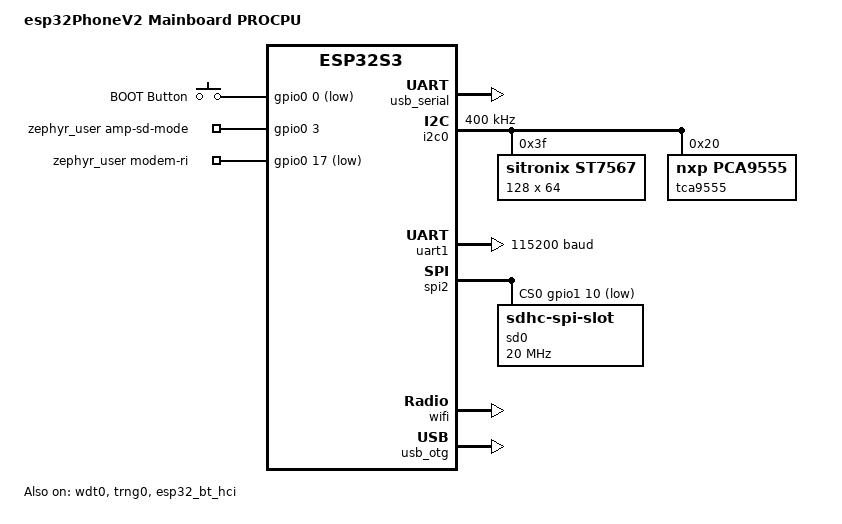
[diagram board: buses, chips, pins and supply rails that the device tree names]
/*
 * esp32PhoneV2 Mainboard (PCB4) — PROCPU
 *
 * GPIO map (from Mainboard_schematics.pdf):
 *   IO0  BOOT button          IO15 modem TX
 *   IO2  SD SCK               IO16 modem RX
 *   IO3  amp SD_MODE          IO17 modem RI
 *   IO4  I2S LRC/FSYNC        IO18 modem PWRKEY
 *   IO5  I2S BCLK             IO19/20 USB D-/D+
 *   IO6  DAC DIN              IO42 SD CS
 *   IO7  ADC SDOUT            IO43 SD MOSI
 *   IO8  modem RST            IO44 SD MISO
 *   IO9/10 I2C SDA/SCL
 *   Spare (EXT header): IO1, IO11-14, IO21, IO38-41, IO47, IO48
 */
/dts-v1/;

#include <espressif/esp32s3/esp32s3_wroom_n16r8.dtsi>
#include <zephyr/dt-bindings/input/input-event-codes.h>
#include <espressif/partitions_0x0_amp_16M.dtsi>
#include "esp32phone_v2-pinctrl.dtsi"

/ {
	model = "esp32PhoneV2 Mainboard PROCPU";
	compatible = "espressif,esp32s3";

	aliases {
		i2c-0 = &i2c0;
		watchdog0 = &wdt0;
		sw0 = &button0;
		sdhc0 = &sd0;
	};

	chosen {
		zephyr,sram = &sram1;
		zephyr,console = &usb_serial;
		zephyr,shell-uart = &usb_serial;
		zephyr,flash = &flash0;
		zephyr,code-partition = &slot0_partition;
		zephyr,bt-hci = &esp32_bt_hci;
		zephyr,display = &st7567;
	};

	buttons {
		compatible = "gpio-keys";

		button0: button_0 {
			gpios = <&gpio0 0 (GPIO_PULL_UP | GPIO_ACTIVE_LOW)>;
			label = "BOOT Button";
			zephyr,code = <INPUT_KEY_0>;
		};
	};

	/* Board control lines owned by firmware services */
	zephyr_user: zephyr,user {
		amp-sd-mode-gpios = <&gpio0 3 GPIO_ACTIVE_HIGH>;  /* MAX98357A enable */
		modem-ri-gpios = <&gpio0 17 GPIO_ACTIVE_LOW>;     /* A7680C ring indicator */
	};
};

&usb_serial {
	status = "okay";
};

&gpio0 {
	status = "okay";
};

&gpio1 {
	status = "okay";
};

&i2c0 {
	status = "okay";
	clock-frequency = <I2C_BITRATE_FAST>;
	pinctrl-0 = <&i2c0_default>;
	pinctrl-names = "default";

	/*
	 * Matches the known-good U8g2 init (ENH_DG128064I + U8G2_R2):
	 * SEG normal + COM flipped = that panel's 180° orientation,
	 * offset 0, RR=3, 1/9 bias. Contrast (EV 50) is set at runtime —
	 * ST7567_DEFAULT_CONTRAST is capped at 15.
	 */
	st7567: st7567@3f {
		compatible = "sitronix,st7567";
		reg = <0x3f>;
		width = <128>;
		height = <64>;
		column-offset = <0>;
		line-offset = <0>;
		regulation-ratio = <3>;
		com-invdir;
	};

	tca9555: tca9555@20 {
		compatible = "nxp,pca9555";
		reg = <0x20>;
		gpio-controller;
		#gpio-cells = <2>;
		ngpios = <16>;
	};
};

/* A7680C LTE Cat-1 modem (keypad-side of TXS0108E level shifter) */
&uart1 {
	status = "okay";
	current-speed = <115200>;
	pinctrl-0 = <&uart1_default>;
	pinctrl-names = "default";

	modem: modem {
		compatible = "simcom,a76xx";
		mdm-power-gpios = <&gpio0 18 GPIO_ACTIVE_HIGH>;
		mdm-reset-gpios = <&gpio0 8 GPIO_ACTIVE_HIGH>;
		status = "disabled";	/* enabled in M2 (telephony) */
	};
};

/* Audio bus — enabled in M3 (media) */
&i2s0 {
	pinctrl-0 = <&i2s0_default>;
	pinctrl-names = "default";
};

/* micro-SD (TF1), SPI mode */
&spi2 {
	#address-cells = <1>;
	#size-cells = <0>;
	status = "okay";
	pinctrl-0 = <&spim2_default>;
	pinctrl-names = "default";
	/* GPIO CS, not hardware CSEL: SD init needs frames with CS deasserted */
	cs-gpios = <&gpio1 10 GPIO_ACTIVE_LOW>;

	sd0: sdhc@0 {
		compatible = "zephyr,sdhc-spi-slot";
		reg = <0>;
		spi-max-frequency = <20000000>;
		status = "okay";

		mmc {
			compatible = "zephyr,sdmmc-disk";
			disk-name = "SD";
			status = "okay";
		};
	};
};

&timer0 {
	status = "disabled";
};

&timer1 {
	status = "disabled";
};

&timer2 {
	status = "disabled";
};

&timer3 {
	status = "disabled";
};

&wdt0 {
	status = "okay";
};

&trng0 {
	status = "okay";
};

&esp32_bt_hci {
	status = "okay";
};

&wifi {
	status = "okay";
};

zephyr_udc0: &usb_otg {
	status = "okay";
};
